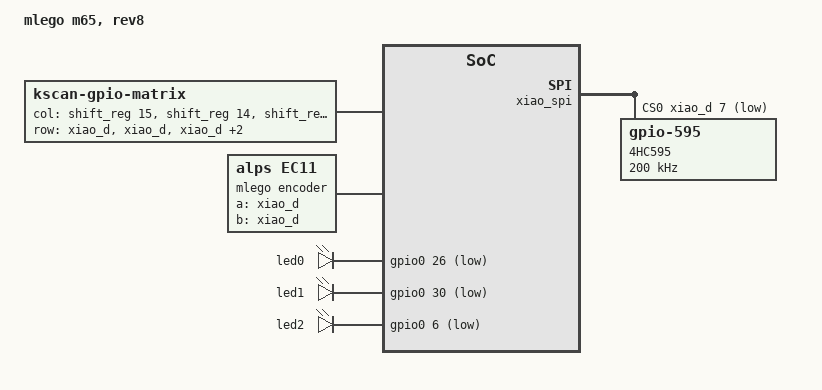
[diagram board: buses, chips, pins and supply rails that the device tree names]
/*
 * Copyright (c) 2022 alin m elena
 * SPDX-License-Identifier: MIT
 */

#include "mlego5x13_rev8_layout.dtsi"
#include <dt-bindings/led/led.h>

/ {
   model = "mlego m65, rev8";
   compatible = "mlego", "seeduino,xiao_ble";
   m65_layout: m65_layout {
        compatible = "zmk,physical-layout";
        display-name = "m65 default layout";
        kscan = <&kscan_m65>;
   };

   chosen {
     zmk,physical-layout = &m65_layout;
     /*
     zmk,led-widgets-dev = &leds_i;
     */
   };

   kscan_m65: kscan_m65 {
     compatible = "zmk,kscan-gpio-matrix";
     label = "kscan";
     diode-direction = "col2row";
     col-gpios = <&shift_reg 15 (GPIO_ACTIVE_HIGH)>
                 , <&shift_reg 14 (GPIO_ACTIVE_HIGH)>
                 , <&shift_reg 13 (GPIO_ACTIVE_HIGH)>
                 , <&shift_reg 12 (GPIO_ACTIVE_HIGH)>
                 , <&shift_reg 11 (GPIO_ACTIVE_HIGH)>
                 , <&shift_reg 10 (GPIO_ACTIVE_HIGH)>
                 , <&shift_reg 9 (GPIO_ACTIVE_HIGH)>
                 , <&shift_reg 8 (GPIO_ACTIVE_HIGH)>
                 , <&shift_reg 7 (GPIO_ACTIVE_HIGH)>
                 , <&shift_reg 6 (GPIO_ACTIVE_HIGH)>
                 , <&shift_reg 5 (GPIO_ACTIVE_HIGH)>
                 , <&shift_reg 4 (GPIO_ACTIVE_HIGH)>
                 , <&shift_reg 0 (GPIO_ACTIVE_HIGH)>
                 ;
     row-gpios = <&xiao_d 0(GPIO_ACTIVE_HIGH | GPIO_PULL_DOWN)>
                 ,<&xiao_d 1(GPIO_ACTIVE_HIGH | GPIO_PULL_DOWN)>
                 ,<&xiao_d 2(GPIO_ACTIVE_HIGH | GPIO_PULL_DOWN)>
                 ,<&xiao_d 3(GPIO_ACTIVE_HIGH | GPIO_PULL_DOWN)>
                 ,<&xiao_d 4(GPIO_ACTIVE_HIGH | GPIO_PULL_DOWN)>
                 ;
   };
   mlego_encoder: mlego_encoder {
     compatible = "alps,ec11";
     label = "mlego encoder";
     a-gpios = <&xiao_d 5(GPIO_ACTIVE_HIGH | GPIO_PULL_UP)>;
     b-gpios = <&xiao_d 6(GPIO_ACTIVE_HIGH | GPIO_PULL_UP)>;
     resolution = <4>;
   };

   sensors {
     compatible = "zmk,keymap-sensors";
     sensors = <&mlego_encoder>;
   };
    aliases {
        led-red = &led0;
        led-green = &led1;
        led-blue = &led2;
    };

    leds {
        compatible = "gpio-leds";
        status = "okay";
        led0: led_0 {
            gpios = <&gpio0 26 GPIO_ACTIVE_LOW>;  // red LED, connected to P0.26
        };
        led1: led_1 {
            gpios = <&gpio0 30 GPIO_ACTIVE_LOW>;  // green LED, connected to P0.30
        };
        led2: led_2 {
            gpios = <&gpio0 6 GPIO_ACTIVE_LOW>;  // blue LED, connected to P0.06
        };
    };

   /*
   leds_i: leds_i {
     compatible = "pwm-leds";
     label = "leds layers";
     blue_led: led_b {
       pwms = <&pwm0 26 PWM_MSEC(20) PWM_POLARITY_NORMAL>;
       label = "red";
     };
     green_led: led_g {
       pwms = <&pwm0 30 PWM_MSEC(20) PWM_POLARITY_NORMAL>;
       label = "green";
     };
     red_led: led_r {
       pwms = <&pwm0 6 PWM_MSEC(20) PWM_POLARITY_NORMAL>;
       label = "blue";
     };
   };
  
  led-widgets {
        compatible = "zmk,led-widgets";
        boot {
            boot {
                priority = <100>;
                blue { len-ms = <100>; brightness = <0 0 50>; };
                off { len-ms = <100>; };
                blue2 { len-ms = <100>; brightness = <0 0 50>; };
            };
        };
        layer {
            lower {
                arg = <1>;
                priority = <20>;
                stat { brightness = <20 0 20>; };
            };
            raise {
                arg = <2>;
                priority = <20>;
                stat { brightness = <0 20 0>; };
            };
            adjust {
                arg = <3>;
                priority = <20>;
                stat { brightness = <20 20 0>; };
            };
        };
   };
*/
};
/*
&pwm0 {
    status = "okay";
    ch0-pin = <26>;
    ch1-pin = <30>;
    ch2-pin = <6>;
    ch0-inverted;
    ch1-inverted;
    ch2-inverted;
};
*/
&mlego_encoder { 
  status = "okay"; 
};

&xiao_spi {
  status = "okay";

  cs-gpios = <&xiao_d 7 GPIO_ACTIVE_LOW>, <&xiao_d 6 GPIO_ACTIVE_HIGH>;
  shift_reg: 595@0 {
    compatible = "zmk,gpio-595";
    status = "okay";
    gpio-controller;
    spi-max-frequency = <200000>;
    #gpio-cells = <2>;
    reg = <0>;
    label = "4HC595";
    ngpios = <16>;
  };
};

&xiao_serial { 
  status = "disabled"; 
};

